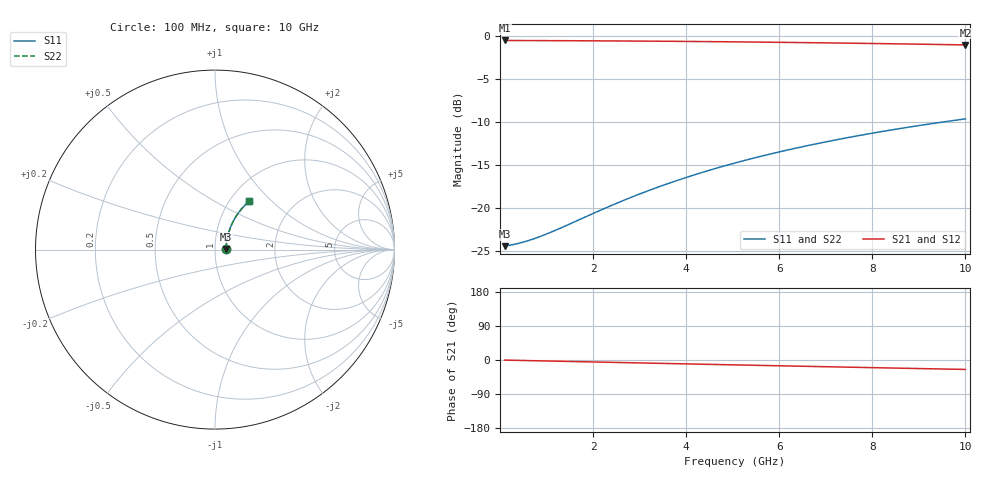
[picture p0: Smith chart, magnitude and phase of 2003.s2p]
# Hz S RI R 50.00
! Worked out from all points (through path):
!   100 points, 100 MHz to 10 GHz, reference 50 ohm
!   highest |S21| = -0.54 dB at 100 MHz (marker M1); lowest = -1.1 dB at 10 GHz (marker M2)
!   group delay of S21, straight-line fit = 6.93 ps
!   lowest |S11| = -24.4 dB at 100 MHz (marker M3), VSWR 1.13, Z = 56.4 + j0.363 ohm
!   |S11| at or under -10 dB: start of sweep to 9.513 GHz
!   |S22| runs from -24.4 to -9.6 dB; largest |S21 - S12| = 0
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1e8  0.0602 0.00321  0.9398 -0.00424  0.9398 -0.00424  0.0602 0.00321
4e8  0.0613 0.0128  0.9387 -0.0169  0.9387 -0.0169  0.0613 0.0128
6e8  0.0619 0.0192  0.938 -0.0254  0.938 -0.0254  0.0619 0.0192
8e8  0.0626 0.0255  0.9373 -0.0338  0.9373 -0.0338  0.0626 0.0255
1e9  0.0634 0.0319  0.9366 -0.0422  0.9366 -0.0422  0.0634 0.0319
1.2e9  0.0642 0.0382  0.9357 -0.0506  0.9357 -0.0506  0.0642 0.0382
1.8e9  0.0673 0.0571  0.9325 -0.0757  0.9325 -0.0757  0.0673 0.0571
2.2e9  0.0698 0.0695  0.9299 -0.0922  0.9299 -0.0922  0.0698 0.0695
2.6e9  0.0727 0.0819  0.9269 -0.1087  0.9269 -0.1087  0.0727 0.0819
3e9  0.0761 0.0941  0.9234 -0.125  0.9234 -0.125  0.0761 0.0941
3.4e9  0.0798 0.1061  0.9195 -0.1412  0.9195 -0.1412  0.0798 0.1061
3.8e9  0.084 0.118  0.9152 -0.1572  0.9152 -0.1572  0.084 0.118
4.2e9  0.0886 0.1296  0.9104 -0.173  0.9104 -0.173  0.0886 0.1296
4.6e9  0.0935 0.1411  0.9053 -0.1886  0.9053 -0.1886  0.0935 0.1411
5.1e9  0.1002 0.1551  0.8983 -0.2078  0.8983 -0.2078  0.1002 0.1551
5.5e9  0.1059 0.166  0.8924 -0.2229  0.8924 -0.2229  0.1059 0.166
5.9e9  0.112 0.1767  0.886 -0.2377  0.886 -0.2377  0.112 0.1767
6.7e9  0.1252 0.1972  0.8722 -0.2666  0.8722 -0.2666  0.1252 0.1972
7.5e9  0.1396 0.2166  0.8572 -0.2943  0.8572 -0.2943  0.1396 0.2166
8.4e9  0.1572 0.2369  0.8389 -0.324  0.8389 -0.324  0.1572 0.2369
9.2e9  0.1737 0.2535  0.8215 -0.349  0.8215 -0.349  0.1737 0.2535
1e10  0.1912 0.2688  0.8032 -0.3728  0.8032 -0.3728  0.1912 0.2688
